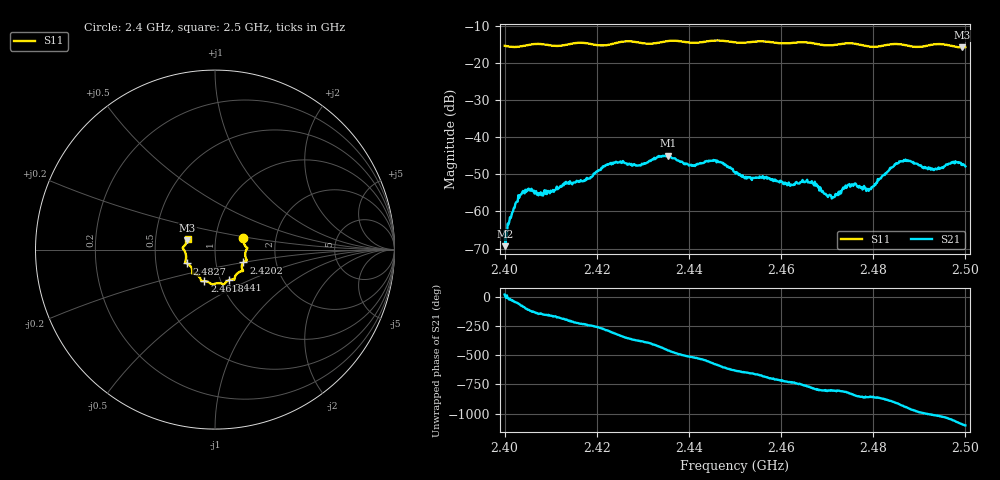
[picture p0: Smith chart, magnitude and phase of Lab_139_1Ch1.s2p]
# Hz S RI R 50
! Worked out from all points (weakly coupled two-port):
!   601 points, 2.4 GHz to 2.5 GHz, reference 50 ohm
!   highest |S21| = -44.92 dB at 2.4355 GHz (marker M1); lowest = -69.3 dB at 2.4002 GHz (marker M2)
!   lowest |S11| = -15.8 dB at 2.4993 GHz (marker M3), VSWR 1.39, Z = 36.5 + j3.83 ohm
!   |S11| at or under -10 dB: start of sweep to end of sweep
!   S12 and S22 are empty: the file has one direction only
!   S11 on the Smith chart (normalised r, x): 2.4 GHz: 1.36, +0.18; 2.4202 GHz: 1.36, -0.20; 2.441 GHz: 1.10, -0.39; 2.4618 GHz: 0.84, -0.30; 2.4827 GHz: 0.72, -0.12; 2.5 GHz: 0.73, +0.09
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2.4e9  0.1586 0.0631  0.000506 0.000191  0 0  0 0
2.400167e9  0.1586 0.0615  0.000341 1.75e-05  0 0  0 0
2.4025e9  0.1616 0.0334  0.000911 -0.000967  0 0  0 0
2.404e9  0.1688 0.0195  0.000196 -0.00188  0 0  0 0
2.416667e9  0.1772 -0.0611  -0.00165 0.00196  0 0  0 0
2.420167e9  0.1586 -0.0714  -0.000685 0.00345  0 0  0 0
2.433333e9  0.1116 -0.1508  0.00254 -0.00479  0 0  0 0
2.4355e9  0.1091 -0.1653  -0.000958 -0.00559  0 0  0 0
2.441e9  0.0787 -0.1698  -0.00388 -0.00144  0 0  0 0
2.445667e9  0.0505 -0.1945  -0.00395 0.0029  0 0  0 0
2.45e9  0.0286 -0.1874  1.43e-05 0.00336  0 0  0 0
2.461833e9  -0.0591 -0.1755  0.00226 -0.000356  0 0  0 0
2.466667e9  -0.0787 -0.1685  0.00136 -0.00217  0 0  0 0
2.471167e9  -0.1059 -0.1378  0.000158 -0.00151  0 0  0 0
2.475e9  -0.1272 -0.1334  -0.000684 -0.00204  0 0  0 0
2.479e9  -0.1295 -0.1054  -0.00145 -0.00123  0 0  0 0
2.482667e9  -0.1559 -0.0774  -0.00303 -0.00124  0 0  0 0
2.483333e9  -0.1605 -0.0753  -0.00344 -0.000881  0 0  0 0
2.487167e9  -0.1631 -0.0583  -0.00346 0.00336  0 0  0 0
2.493e9  -0.1775 0.00468  0.00135 0.00338  0 0  0 0
2.499333e9  -0.1542 0.0511  0.00411 -0.000992  0 0  0 0
2.5e9  -0.1524 0.0606  0.00377 -0.0015  0 0  0 0
